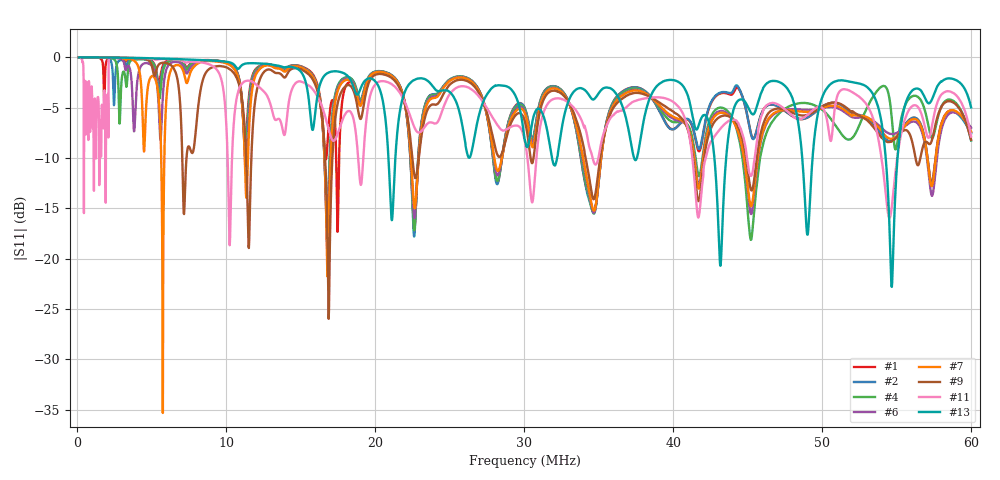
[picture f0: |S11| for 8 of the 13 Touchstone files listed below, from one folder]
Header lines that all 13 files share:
# Hz S RI R 50
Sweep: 100 kHz to 60 MHz
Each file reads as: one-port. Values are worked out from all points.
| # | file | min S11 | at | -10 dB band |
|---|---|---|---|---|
| 1 | G5RV Tuner A 5-5.s1p | -17.3 dB | 17.46 MHz | 1.344 MHz wide |
| 2 | G5RV Tuner B 5-5.s1p | -17.8 dB | 22.6 MHz | 1.352 MHz wide |
| 3 | G5RV Tuner Bypass.s1p | -32.8 dB | 18.77 MHz | 1.028 MHz wide |
| 4 | G5RV Tuner C 5-5.s1p | -18.1 dB | 45.23 MHz | 1.313 MHz wide |
| 5 | G5RV Tuner D 5-5.s1p | -28.5 dB | 3.363 MHz | 1.289 MHz wide |
| 6 | G5RV Tuner E 5-5.s1p | -19.2 dB | 16.79 MHz | 1.258 MHz wide |
| 7 | G5RV Tuner F 5-5.s1p | -35.3 dB | 5.736 MHz | 1.208 MHz wide |
| 8 | G5RV Tuner G 5-5.s1p | -36.5 dB | 16.83 MHz | 1.105 MHz wide |
| 9 | G5RV Tuner H 5-5.s1p | -26.0 dB | 16.87 MHz | 984.3 kHz wide |
| 10 | G5RV Tuner I 5-5.s1p | -25.0 dB | 54.48 MHz | 1.479 MHz wide |
| 11 | G5RV Tuner J 5-5.s1p | -18.7 dB | 10.22 MHz | 1.059 MHz wide |
| 12 | G5RV Tuner K 5-5.s1p | -21.0 dB | 30.32 MHz | 926.9 kHz wide |
| 13 | G5RV Tuner L 5-5.s1p | -22.8 dB | 54.68 MHz | 790.4 kHz wide |
